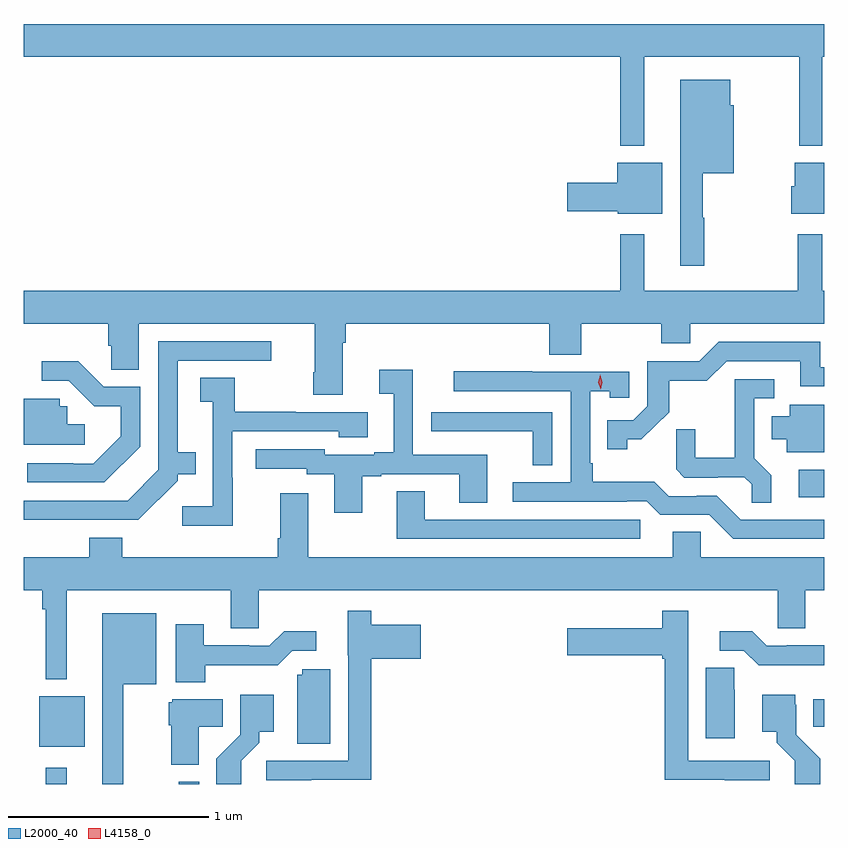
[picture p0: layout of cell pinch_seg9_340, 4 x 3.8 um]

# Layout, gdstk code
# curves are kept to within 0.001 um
import gdstk
lib = gdstk.Library(unit=1e-6, precision=1e-09)
def R(c, l, rs):  # rectangles x0, y0, x1, y1
    for r in rs: c.add(gdstk.rectangle(r[:2], r[2:], *l))
def P(c, l, *ps):  # polygons
    for p in ps: c.add(gdstk.Polygon(p, *l))
L2000_40 = (2000, 40)
L4158_0 = (4158, 0)

pinch_seg9_340 = lib.new_cell('pinch_seg9_340')
R(pinch_seg9_340, L2000_40, [(538.799,1190.124,538.903,1190.206), (539.464,1190.124,539.565,1190.134), (538.766,1190.309,538.993,1190.563), (542.632,1190.41,542.688,1190.548), (542.559,1191.557,542.688,1191.693)])
P(pinch_seg9_340, L2000_40, [(541.789,1193.756),(542.563,1193.756),(542.563,1193.312),(542.677,1193.312),(542.677,1193.756),(542.688,1193.756),(542.688,1193.92),(538.688,1193.92),(538.688,1193.756),(541.668,1193.756),(541.668,1193.312),(541.789,1193.312)],
  [(542.089,1192.952),(542.081,1192.952),(542.081,1193.174),(542.236,1193.174),(542.236,1193.514),(542.218,1193.514),(542.218,1193.641),(541.967,1193.641),(541.967,1192.713),(542.089,1192.713)],
  [(541.879,1193.227),(541.652,1193.227),(541.652,1193.126),(541.404,1193.126),(541.404,1192.984),(541.656,1192.984),(541.656,1192.973),(541.879,1192.973)],
  [(542.688,1193.227),(542.54,1193.227),(542.54,1193.109),(542.522,1193.109),(542.522,1192.973),(542.688,1192.973)],
  [(538.688,1192.424),(539.111,1192.424),(539.111,1192.314),(539.125,1192.314),(539.125,1192.192),(539.263,1192.192),(539.263,1192.424),(540.143,1192.424),(540.143,1192.18),(540.136,1192.18),(540.136,1192.068),(540.283,1192.068),(540.283,1192.328),(540.296,1192.328),(540.296,1192.424),(541.313,1192.424),(541.313,1192.267),(541.473,1192.267),(541.473,1192.424),(541.873,1192.424),(541.873,1192.326),(542.019,1192.326),(542.019,1192.424),(542.688,1192.424),(542.688,1192.588),(542.677,1192.588),(542.677,1192.87),(542.556,1192.87),(542.556,1192.588),(541.789,1192.588),(541.789,1192.87),(541.668,1192.87),(541.668,1192.588),(538.688,1192.588)],
  [(538.931,1191.444),(539.262,1191.444),(539.457,1191.639),(539.457,1191.671),(539.549,1191.671),(539.549,1191.781),(539.458,1191.781),(539.458,1192.239),(539.926,1192.239),(539.926,1192.335),(539.361,1192.335),(539.361,1191.693),(539.208,1191.54),(538.688,1191.54),(538.688,1191.443)],
  [(541.704,1191.845),(541.774,1191.845),(541.912,1191.982),(541.912,1192.138),(542.101,1192.138),(542.199,1192.236),(542.567,1192.236),(542.567,1192.11),(542.688,1192.11),(542.688,1192.206),(542.666,1192.206),(542.666,1192.332),(542.16,1192.332),(542.064,1192.236),(541.803,1192.236),(541.803,1192.011),(541.734,1191.942),(541.603,1191.942),(541.603,1191.795),(541.704,1191.795)],
  [(539.271,1191.809),(539.271,1192.107),(539.088,1192.107),(538.96,1192.235),(538.779,1192.235),(538.779,1192.137),(538.914,1192.137),(539.041,1192.01),(539.174,1192.01),(539.174,1191.86),(539.037,1191.723),(538.937,1191.723),(538.937,1191.726),(538.707,1191.726),(538.707,1191.63),(539.092,1191.63)],
  [(540.379,1191.66),(540.475,1191.66),(540.475,1191.672),(540.863,1191.672),(540.863,1191.529),(541.003,1191.529),(541.003,1191.768),(540.633,1191.768),(540.633,1192.192),(540.465,1192.192),(540.465,1192.072),(540.536,1192.072),(540.536,1191.781),(540.44,1191.781),(540.44,1191.768),(540.192,1191.768),(540.192,1191.795),(539.847,1191.795),(539.847,1191.699),(540.102,1191.699),(540.102,1191.672),(540.239,1191.672),(540.239,1191.48),(540.379,1191.48)],
  [(542.688,1191.444),(542.271,1191.444),(542.151,1191.564),(542.05,1191.564),(542.05,1191.561),(541.911,1191.561),(541.838,1191.634),(541.531,1191.634),(541.531,1191.727),(541.518,1191.727),(541.518,1192.085),(541.617,1192.085),(541.617,1192.053),(541.713,1192.053),(541.713,1192.182),(541.229,1192.182),(541.229,1192.185),(540.837,1192.185),(540.837,1192.086),(541.422,1192.086),(541.422,1191.63),(541.131,1191.63),(541.131,1191.534),(541.7,1191.534),(541.7,1191.537),(541.8,1191.537),(541.869,1191.468),(542.112,1191.468),(542.232,1191.348),(542.688,1191.348)],
  [(539.733,1191.653),(539.73,1191.653),(539.73,1191.885),(540.261,1191.885),(540.261,1191.857),(540.406,1191.857),(540.406,1191.981),(540.047,1191.981),(540.047,1191.984),(539.743,1191.984),(539.743,1192.154),(539.571,1192.154),(539.571,1192.033),(539.634,1192.033),(539.634,1191.511),(539.481,1191.511),(539.481,1191.413),(539.733,1191.413)],
  [(542.423,1191.665),(542.337,1191.751),(542.337,1192.05),(542.437,1192.05),(542.437,1192.146),(542.24,1192.146),(542.24,1191.754),(542.042,1191.754),(542.042,1191.897),(541.948,1191.897),(541.948,1191.695),(541.989,1191.654),(542.154,1191.654),(542.154,1191.657),(542.288,1191.657),(542.325,1191.62),(542.325,1191.529),(542.423,1191.529)],
  [(538.993,1191.922),(538.905,1191.922),(538.905,1192.011),(538.869,1192.011),(538.869,1192.047),(538.688,1192.047),(538.688,1191.819),(538.993,1191.819)],
  [(542.688,1192.018),(542.516,1192.018),(542.516,1191.961),(542.426,1191.961),(542.426,1191.845),(542.501,1191.845),(542.501,1191.782),(542.688,1191.782)],
  [(541.329,1191.981),(540.723,1191.981),(540.723,1191.886),(540.835,1191.886),(540.835,1191.885),(541.231,1191.885),(541.231,1191.715),(541.329,1191.715)],
  [(541.768,1191.444),(540.691,1191.444),(540.691,1191.587),(540.551,1191.587),(540.551,1191.348),(541.768,1191.348)],
  [(539.18,1191.355),(539.015,1191.355),(539.015,1191.256),(538.688,1191.256),(538.688,1191.092),(538.782,1191.092),(538.782,1190.996),(538.799,1190.996),(538.799,1190.648),(538.903,1190.648),(538.903,1191.092),(539.723,1191.092),(539.723,1190.902),(539.862,1190.902),(539.862,1191.092),(542.454,1191.092),(542.454,1190.902),(542.593,1190.902),(542.593,1191.092),(542.688,1191.092),(542.688,1191.256),(542.07,1191.256),(542.07,1191.383),(541.931,1191.383),(541.931,1191.256),(540.109,1191.256),(540.109,1191.577),(539.969,1191.577),(539.969,1191.352),(539.957,1191.352),(539.957,1191.256),(539.18,1191.256)],
  [(540.125,1190.145),(540.425,1190.145),(540.425,1190.75),(540.673,1190.75),(540.673,1190.92),(540.425,1190.92),(540.425,1190.989),(540.308,1190.989),(540.308,1190.766),(540.309,1190.766),(540.309,1190.241),(539.901,1190.241),(539.901,1190.143),(540.125,1190.143)],
  [(542.416,1190.241),(542.007,1190.241),(542.007,1190.766),(542.008,1190.766),(542.008,1190.989),(541.878,1190.989),(541.878,1190.902),(541.404,1190.902),(541.404,1190.768),(541.878,1190.768),(541.878,1190.75),(541.891,1190.75),(541.891,1190.145),(542.191,1190.145),(542.191,1190.143),(542.416,1190.143)],
  [(539.185,1190.621),(539.35,1190.621),(539.35,1190.977),(539.081,1190.977),(539.081,1190.124),(539.185,1190.124)],
  [(539.595,1190.718),(539.957,1190.718),(540.03,1190.79),(540.151,1190.79),(540.151,1190.887),(539.989,1190.887),(539.916,1190.814),(539.816,1190.814),(539.816,1190.817),(539.587,1190.817),(539.587,1190.923),(539.447,1190.923),(539.447,1190.633),(539.595,1190.633)],
  [(542.688,1190.817),(542.5,1190.817),(542.5,1190.814),(542.4,1190.814),(542.327,1190.887),(542.166,1190.887),(542.166,1190.79),(542.286,1190.79),(542.359,1190.718),(542.688,1190.718)],
  [(542.239,1190.594),(542.238,1190.594),(542.238,1190.705),(542.096,1190.705),(542.096,1190.352),(542.239,1190.352)],
  [(540.22,1190.697),(540.081,1190.697),(540.081,1190.67),(540.056,1190.67),(540.056,1190.326),(540.22,1190.326)],
  [(539.776,1190.239),(539.866,1190.329),(539.866,1190.384),(539.938,1190.384),(539.938,1190.569),(539.771,1190.569),(539.771,1190.52),(539.769,1190.52),(539.769,1190.369),(539.65,1190.25),(539.65,1190.124),(539.776,1190.124)],
  [(542.666,1190.25),(542.547,1190.369),(542.547,1190.52),(542.542,1190.52),(542.542,1190.569),(542.378,1190.569),(542.378,1190.384),(542.45,1190.384),(542.45,1190.329),(542.541,1190.239),(542.541,1190.124),(542.666,1190.124)],
  [(539.563,1190.41),(539.684,1190.41),(539.684,1190.548),(539.43,1190.548),(539.43,1190.532),(539.414,1190.532),(539.414,1190.418),(539.426,1190.418),(539.426,1190.219),(539.563,1190.219)])
P(pinch_seg9_340, L4158_0, [(541.57,1192.095),(541.559,1192.13),(541.568,1192.166),(541.568,1192.167),(541.568,1192.166),(541.579,1192.131),(541.571,1192.095),(541.571,1192.095)])

lib.write_gds('pinch_seg9_340.gds')
